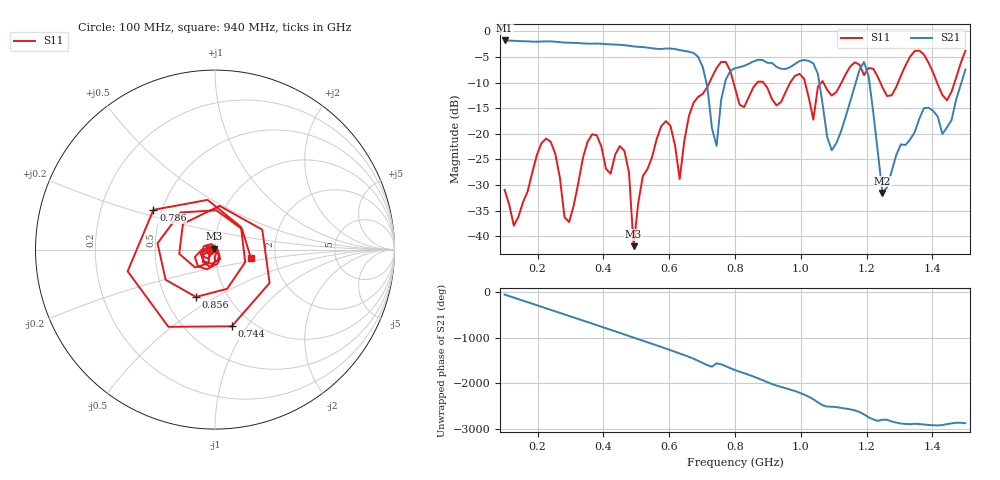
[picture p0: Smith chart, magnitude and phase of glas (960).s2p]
! NanoVNA-App
! Date: 2025-09-25 16:02:56
! Start: 100MHz Stop: 1,5GHz Points: 101
! S-Parameter data: F S11 S21 S12 S22
# Hz S RI R 50
!  Frequency  S11_Real  S11_Imag  S21_Real  S21_Imag  S12_Real  S12_Imag  S22_Real  S22_Imag
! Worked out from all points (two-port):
!   101 points, 100 MHz to 1.5 GHz, reference 50 ohm
!   highest |S21| = -1.80 dB at 100 MHz (marker M1); lowest = -31.5 dB at 1.248 GHz (marker M2)
!   |S21| within 3 dB of the highest: start of sweep to 684.5 MHz
!   lowest |S11| = -41.9 dB at 492 MHz (marker M3), VSWR 1.02, Z = 49.5 + j0.595 ohm
!   |S11| at or under -10 dB: start of sweep to 722.4 MHz; 795.5 MHz to 867.8 MHz (72.35 MHz wide, 8.7 % of centre); 886 MHz to 967.8 MHz (81.85 MHz wide, 8.83 % of centre) (the widest 3 of 7)
!   S12 and S22 are empty: the file has one direction only
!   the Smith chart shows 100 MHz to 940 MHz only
!   S11 on the Smith chart (normalised r, x): 100 MHz: 0.94, -0.01; 744 MHz: 0.81, -0.85; 786 MHz: 0.45, +0.24; 856 MHz: 0.71, -0.41; 940 MHz: 1.49, -0.14
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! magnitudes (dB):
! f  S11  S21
! 100 MHz  -30.9  -1.8
! 128 MHz  -37.9  -1.9
! 226 MHz  -20.9  -2.0
! 296 MHz  -37.2  -2.2
! 338 MHz  -24.7  -2.4
! 464 MHz  -23.3  -2.7
! 492 MHz  -41.9  -3.0
! 576 MHz  -18.5  -3.5
! 632 MHz  -28.8  -3.7
! 702 MHz  -12.2  -7.0
! 744 MHz  -7.2  -22.3
! 786 MHz  -7.8  -7.7
! 800 MHz  -11.1  -7.2
! 856 MHz  -10.9  -5.9
! 940 MHz  -13.8  -7.3
! 1.038 GHz  -17.2  -6.3
! 1.094 GHz  -12.6  -23.2
! 1.192 GHz  -8.6  -6.0
! 1.248 GHz  -10.9  -31.5
! 1.276 GHz  -12.5  -27.3
! 1.444 GHz  -13.5  -18.8
! 1.5 GHz  -3.8  -7.5
